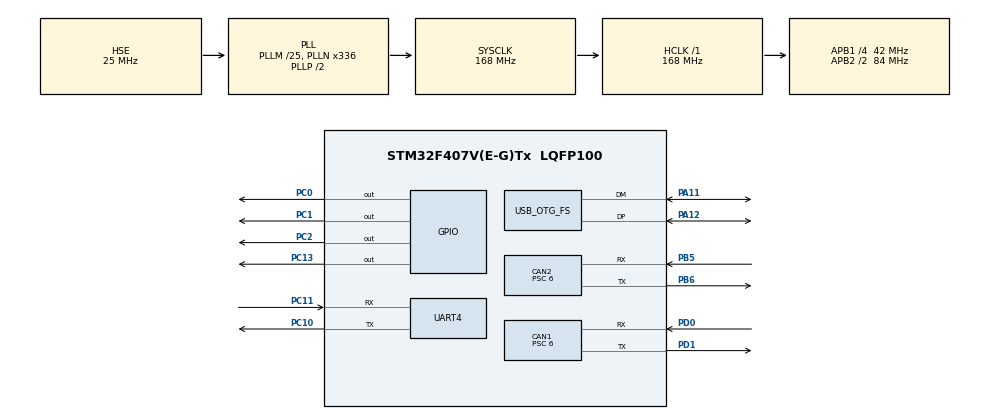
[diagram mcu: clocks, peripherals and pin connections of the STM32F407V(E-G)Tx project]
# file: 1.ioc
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CAN1.BS1=CAN_BS1_3TQ
CAN1.BS2=CAN_BS2_3TQ
CAN1.CalculateBaudRate=1000000
CAN1.CalculateTimeBit=1000
CAN1.CalculateTimeQuantum=142.85714285714286
CAN1.Prescaler=6
CAN2.BS1=CAN_BS1_3TQ
CAN2.BS2=CAN_BS2_3TQ
CAN2.CalculateBaudRate=1000000
CAN2.CalculateTimeBit=1000
CAN2.CalculateTimeQuantum=142.85714285714286
CAN2.Prescaler=6
Dma.Request0=UART4_RX
Dma.UART4_RX.0.Direction=DMA_PERIPH_TO_MEMORY
Dma.UART4_RX.0.FIFOMode=DMA_FIFOMODE_DISABLE
Dma.UART4_RX.0.Instance=DMA1_Stream2
Dma.UART4_RX.0.MemDataAlignment=DMA_MDATAALIGN_BYTE
Dma.UART4_RX.0.MemInc=DMA_MINC_ENABLE
Dma.UART4_RX.0.Mode=DMA_NORMAL
Dma.UART4_RX.0.PeriphDataAlignment=DMA_PDATAALIGN_BYTE
Dma.UART4_RX.0.PeriphInc=DMA_PINC_DISABLE
Dma.UART4_RX.0.Priority=DMA_PRIORITY_LOW
FREERTOS.INCLUDE_vTaskDelayUntil=1
FREERTOS.Tasks01=defaultTask,0,128,StartDefaultTask,Default,NULL,Dynamic,NULL,NULL
Mcu.Family=STM32F4
Mcu.Name=STM32F407V(E-G)Tx
Mcu.Package=LQFP100
NVIC.CAN1_RX0_IRQn=true\:5\:0\:false\:false\:true\:true\:true\:true\:true
NVIC.CAN1_TX_IRQn=true\:5\:0\:false\:false\:true\:true\:true\:true\:true
NVIC.CAN2_RX1_IRQn=true\:5\:0\:false\:false\:true\:true\:true\:true\:true
NVIC.CAN2_TX_IRQn=true\:5\:0\:false\:false\:true\:true\:true\:true\:true
NVIC.DMA1_Stream2_IRQn=true\:5\:0\:false\:false\:true\:true\:false\:true\:true
NVIC.OTG_FS_IRQn=true\:5\:0\:false\:false\:true\:true\:false\:true\:true
NVIC.PriorityGroup=NVIC_PRIORITYGROUP_4
NVIC.TIM2_IRQn=true\:15\:0\:false\:false\:true\:false\:false\:true\:true
NVIC.TimeBase=TIM2_IRQn
NVIC.TimeBaseIP=TIM2
NVIC.UART4_IRQn=true\:5\:0\:false\:false\:true\:true\:true\:true\:true
PA11.Mode=Device_Only
PA11.Signal=USB_OTG_FS_DM
PA12.Mode=Device_Only
PA12.Signal=USB_OTG_FS_DP
PA13.Mode=Serial_Wire
PA13.Signal=SYS_JTMS-SWDIO
PA14.Mode=Serial_Wire
PA14.Signal=SYS_JTCK-SWCLK
PB5.Mode=CAN_Activate
PB5.Signal=CAN2_RX
PB6.Mode=CAN_Activate
PB6.Signal=CAN2_TX
PC0.PinState=GPIO_PIN_RESET
PC0.Signal=GPIO_Output
PC1.PinState=GPIO_PIN_SET
PC1.Signal=GPIO_Output
PC10.Mode=Asynchronous
PC10.Signal=UART4_TX
PC11.Mode=Asynchronous
PC11.Signal=UART4_RX
PC13-ANTI_TAMP.Signal=GPIO_Output
PC2.PinState=GPIO_PIN_SET
PC2.Signal=GPIO_Output
PD0.Mode=CAN_Activate
PD0.Signal=CAN1_RX
PD1.Mode=CAN_Activate
PD1.Signal=CAN1_TX
PH0-OSC_IN.Mode=HSE-External-Oscillator
PH0-OSC_IN.Signal=RCC_OSC_IN
PH1-OSC_OUT.Mode=HSE-External-Oscillator
PH1-OSC_OUT.Signal=RCC_OSC_OUT
ProjectManager.HeapSize=0x200
ProjectManager.StackSize=0x400
ProjectManager.TargetToolchain=MDK-ARM V5
RCC.48MHZClocksFreq_Value=48000000
RCC.AHBFreq_Value=168000000
RCC.APB1CLKDivider=RCC_HCLK_DIV4
RCC.APB1Freq_Value=42000000
RCC.APB1TimFreq_Value=84000000
RCC.APB2CLKDivider=RCC_HCLK_DIV2
RCC.APB2Freq_Value=84000000
RCC.APB2TimFreq_Value=168000000
RCC.CortexFreq_Value=168000000
RCC.HCLKFreq_Value=168000000
RCC.HSE_VALUE=25000000
RCC.HSI_VALUE=16000000
RCC.LSE_VALUE=32768
RCC.PLLM=25
RCC.PLLN=336
RCC.PLLQ=7
RCC.SYSCLKFreq_VALUE=168000000
RCC.SYSCLKSource=RCC_SYSCLKSOURCE_PLLCLK
RCC.VCOOutputFreq_Value=336000000
UART4.VirtualMode=Asynchronous
USB_DEVICE.CLASS_NAME_FS=CDC
USB_DEVICE.VirtualMode-CDC_FS=Cdc
USB_DEVICE.VirtualModeFS=Cdc_FS
USB_OTG_FS.VirtualMode=Device_Only
VP_FREERTOS_VS_CMSIS_V1.Mode=CMSIS_V1
VP_SYS_VS_tim2.Mode=TIM2
VP_USB_DEVICE_VS_USB_DEVICE_CDC_FS.Mode=CDC_FS
board=custom

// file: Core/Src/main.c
/* USER CODE BEGIN Header */
/**
  ******************************************************************************
  * @file           : main.c
  * @brief          : Main program body
  ******************************************************************************
  * @attention
  *
  * Copyright (c) 2024 STMicroelectronics.
  * All rights reserved.
  *
  * This software is licensed under terms that can be found in the LICENSE file
  * in the root directory of this software component.
  * If no LICENSE file comes with this software, it is provided AS-IS.
  *
  ******************************************************************************
  */
/* USER CODE END Header */
#include "main.h"
#include "cmsis_os.h"
#include "can.h"
#include "dma.h"
#include "usart.h"
#include "usb_device.h"
#include "gpio.h"

/* USER CODE BEGIN Includes */
#include "MyRemote.h"
/* USER CODE END Includes */

void SystemClock_Config(void);
void MX_FREERTOS_Init(void);

int main(void)
{

  /* MCU Configuration--------------------------------------------------------*/

  /* Reset of all peripherals, Initializes the Flash interface and the Systick. */
  HAL_Init();

  /* Configure the system clock */
  SystemClock_Config();

  /* Initialize all configured peripherals */
  MX_GPIO_Init();
  MX_DMA_Init();
  MX_CAN1_Init();
  MX_UART4_Init();
  MX_CAN2_Init();
  /* USER CODE BEGIN 2 */

		CanFilter_Init(&hcan1);
	  HAL_CAN_Start(&hcan1);

		CanFilter_Init(&hcan2);
		HAL_CAN_Start(&hcan2);

		HAL_CAN_ActivateNotification(&hcan2,CAN_IT_RX_FIFO1_MSG_PENDING);

		__HAL_UART_ENABLE_IT(&huart4,UART_IT_IDLE);
		HAL_UART_Receive_DMA(&huart4,usart4_dma_buff,sizeof usart4_dma_buff);

		HAL_GPIO_WritePin(GPIOC,GPIO_PIN_13,GPIO_PIN_RESET);		//遥控器
		HAL_GPIO_WritePin(GPIOC,GPIO_PIN_0,GPIO_PIN_RESET);			//雷达

		MI.ID = 0x010;
		MII.ID = 0x020;
		MIII.ID = 0x030;

		MI.ExpPWM = 2500;
		MII.ExpPWM = 2500;
		MIII.ExpPWM = 2500;

	  CAN_RoboModule_DRV_Reset(&hcan2,&MI);
		CAN_RoboModule_DRV_Reset(&hcan2,&MII);
		CAN_RoboModule_DRV_Reset(&hcan2,&MIII);
		HAL_Delay(500);
//		vTaskDelay(500 / portTICK_RATE_MS );
		CAN_RoboModule_DRV_Mode_Choice(&hcan2,&MI,Velocity_Mode);
		CAN_RoboModule_DRV_Mode_Choice(&hcan2,&MII,Velocity_Mode);
		CAN_RoboModule_DRV_Mode_Choice(&hcan2,&MIII,Velocity_Mode);
		HAL_Delay(500);

		//蓝砖模式选择为速度模式//

  /* USER CODE END 2 */

  /* Call init function for freertos objects (in freertos.c) */
  MX_FREERTOS_Init();

  /* Start scheduler */
  osKernelStart();

  /* We should never get here as control is now taken by the scheduler */
  /* Infinite loop */
  while (1)
  {

  }
}

void SystemClock_Config(void)
{
  RCC_OscInitTypeDef RCC_OscInitStruct = {0};
  RCC_ClkInitTypeDef RCC_ClkInitStruct = {0};

  /** Configure the main internal regulator output voltage
  */
  __HAL_RCC_PWR_CLK_ENABLE();
  __HAL_PWR_VOLTAGESCALING_CONFIG(PWR_REGULATOR_VOLTAGE_SCALE1);

  /** Initializes the RCC Oscillators according to the specified parameters
  * in the RCC_OscInitTypeDef structure.
  */
  RCC_OscInitStruct.OscillatorType = RCC_OSCILLATORTYPE_HSE;
  RCC_OscInitStruct.HSEState = RCC_HSE_ON;
  RCC_OscInitStruct.PLL.PLLState = RCC_PLL_ON;
  RCC_OscInitStruct.PLL.PLLSource = RCC_PLLSOURCE_HSE;
  RCC_OscInitStruct.PLL.PLLM = 25;
  RCC_OscInitStruct.PLL.PLLN = 336;
  RCC_OscInitStruct.PLL.PLLP = RCC_PLLP_DIV2;
  RCC_OscInitStruct.PLL.PLLQ = 7;
  if (HAL_RCC_OscConfig(&RCC_OscInitStruct) != HAL_OK)
  {
    Error_Handler();
  }

  /** Initializes the CPU, AHB and APB buses clocks
  */
  RCC_ClkInitStruct.ClockType = RCC_CLOCKTYPE_HCLK|RCC_CLOCKTYPE_SYSCLK
                              |RCC_CLOCKTYPE_PCLK1|RCC_CLOCKTYPE_PCLK2;
  RCC_ClkInitStruct.SYSCLKSource = RCC_SYSCLKSOURCE_PLLCLK;
  RCC_ClkInitStruct.AHBCLKDivider = RCC_SYSCLK_DIV1;
  RCC_ClkInitStruct.APB1CLKDivider = RCC_HCLK_DIV4;
  RCC_ClkInitStruct.APB2CLKDivider = RCC_HCLK_DIV2;

  if (HAL_RCC_ClockConfig(&RCC_ClkInitStruct, FLASH_LATENCY_5) != HAL_OK)
  {
    Error_Handler();
  }
}

void HAL_TIM_PeriodElapsedCallback(TIM_HandleTypeDef *htim)
{
  if (htim->Instance == TIM2) {
    HAL_IncTick();
  }
}

void Error_Handler(void)
{
  __disable_irq();
  while (1)
  {
  }
}

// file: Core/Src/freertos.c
/* USER CODE BEGIN Header */
/**
  ******************************************************************************
  * File Name          : freertos.c
  * Description        : Code for freertos applications
  ******************************************************************************
  * @attention
  *
  * Copyright (c) 2024 STMicroelectronics.
  * All rights reserved.
  *
  * This software is licensed under terms that can be found in the LICENSE file
  * in the root directory of this software component.
  * If no LICENSE file comes with this software, it is provided AS-IS.
  *
  ******************************************************************************
  */
/* USER CODE END Header */

#include "FreeRTOS.h"
#include "task.h"
#include "main.h"
#include "cmsis_os.h"

/* USER CODE BEGIN Includes */
#include "MyTask.h"

//uint8_t	Command[4] = {Speed_Mode,0x55,0x55,0x55};
//uint8_t  Command_Reset[4] = {0x55,0x55,0x55,0x55};
/* USER CODE END Includes */

osThreadId defaultTaskHandle;

void StartDefaultTask(void const * argument);

extern void MX_USB_DEVICE_Init(void);
void MX_FREERTOS_Init(void); /* (MISRA C 2004 rule 8.1) */

/* GetIdleTaskMemory prototype (linked to static allocation support) */
void vApplicationGetIdleTaskMemory( StaticTask_t **ppxIdleTaskTCBBuffer, StackType_t **ppxIdleTaskStackBuffer, uint32_t *pulIdleTaskStackSize );

/* USER CODE BEGIN GET_IDLE_TASK_MEMORY */
static StaticTask_t xIdleTaskTCBBuffer;
static StackType_t xIdleStack[configMINIMAL_STACK_SIZE];

void vApplicationGetIdleTaskMemory( StaticTask_t **ppxIdleTaskTCBBuffer, StackType_t **ppxIdleTaskStackBuffer, uint32_t *pulIdleTaskStackSize )
{
  *ppxIdleTaskTCBBuffer = &xIdleTaskTCBBuffer;
  *ppxIdleTaskStackBuffer = &xIdleStack[0];
  *pulIdleTaskStackSize = configMINIMAL_STACK_SIZE;
  /* place for user code */
}
/* USER CODE END GET_IDLE_TASK_MEMORY */

void MX_FREERTOS_Init(void) {

  /* Create the thread(s) */
  /* definition and creation of defaultTask */
  osThreadDef(defaultTask, StartDefaultTask, osPriorityNormal, 0, 128);
  defaultTaskHandle = osThreadCreate(osThread(defaultTask), NULL);

}

void StartDefaultTask(void const * argument)
{
  /* init code for USB_DEVICE */

  MX_USB_DEVICE_Init();
  /* USER CODE BEGIN StartDefaultTask */
	portENTER_CRITICAL();

		Task_Creat();

	portEXIT_CRITICAL();
  /* Infinite loop */
  for(;;)
  {

		vTaskDelete(NULL);

  }
  /* USER CODE END StartDefaultTask */
}
